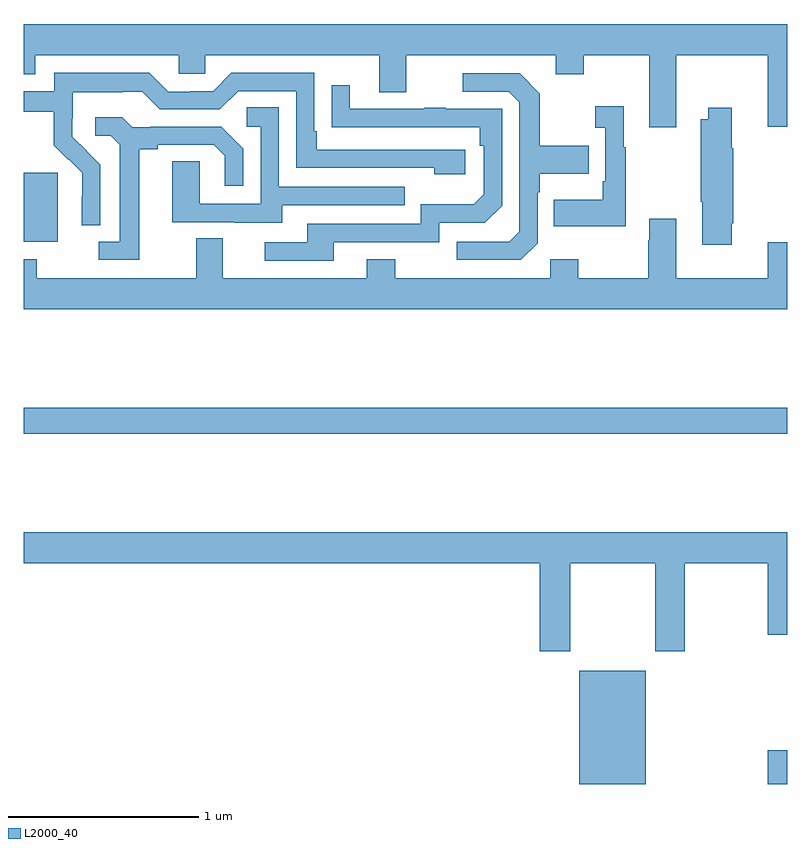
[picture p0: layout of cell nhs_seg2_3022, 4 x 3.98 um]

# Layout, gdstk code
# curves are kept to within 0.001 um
import gdstk
lib = gdstk.Library(unit=1e-6, precision=1e-09)
def R(c, l, rs):  # rectangles x0, y0, x1, y1
    for r in rs: c.add(gdstk.rectangle(r[:2], r[2:], *l))
def P(c, l, *ps):  # polygons
    for p in ps: c.add(gdstk.Polygon(p, *l))
L2000_40 = (2000, 40)

nhs_seg2_3022 = lib.new_cell('nhs_seg2_3022')
R(nhs_seg2_3022, L2000_40, [(271.91,659.8,272.26,660.394), (272.9,659.8,273,659.977), (269,661.636,273,661.772), (269,662.642,269.176,663.003)])
P(nhs_seg2_3022, L2000_40, [(272.419,663.62),(272.9,663.62),(272.9,663.246),(273,663.246),(273,663.784),(269,663.784),(269,663.521),(269.059,663.521),(269.059,663.62),(269.811,663.62),(269.811,663.522),(269.949,663.522),(269.949,663.62),(270.863,663.62),(270.863,663.426),(271.003,663.426),(271.003,663.62),(271.787,663.62),(271.787,663.521),(271.935,663.521),(271.935,663.62),(272.279,663.62),(272.279,663.243),(272.419,663.243)],
  [(269.4,663.046),(269.254,663.194),(269.254,663.291),(269.256,663.291),(269.256,663.425),(269.519,663.425),(269.519,663.429),(269.619,663.429),(269.712,663.336),(270.027,663.336),(270.123,663.432),(270.426,663.432),(270.426,663.03),(271.151,663.03),(271.151,662.996),(271.312,662.996),(271.312,663.126),(270.535,663.126),(270.535,663.223),(270.522,663.223),(270.522,663.528),(270.087,663.528),(269.991,663.432),(269.873,663.432),(269.873,663.429),(269.757,663.429),(269.657,663.529),(269.16,663.529),(269.16,663.432),(269,663.432),(269,663.324),(269.155,663.324),(269.155,663.149),(269.232,663.072),(269.235,663.075),(269.306,663.005),(269.306,662.882),(269.304,662.882),(269.304,662.728),(269.4,662.728)],
  [(271.692,662.634),(271.692,662.903),(271.705,662.903),(271.705,662.999),(271.961,662.999),(271.961,663.147),(271.705,663.147),(271.705,663.419),(271.599,663.525),(271.299,663.525),(271.299,663.429),(271.542,663.429),(271.596,663.375),(271.596,662.694),(271.545,662.643),(271.269,662.643),(271.269,662.547),(271.605,662.547)],
  [(270.625,662.64),(271.176,662.64),(271.176,662.742),(271.416,662.742),(271.506,662.832),(271.506,663.339),(271.211,663.339),(271.211,663.344),(271.099,663.344),(271.099,663.339),(270.709,663.339),(270.709,663.463),(270.613,663.463),(270.613,663.244),(271.39,663.243),(271.39,663.146),(271.41,663.146),(271.41,662.892),(271.357,662.839),(271.08,662.839),(271.08,662.736),(270.485,662.736),(270.485,662.64),(270.261,662.64),(270.261,662.544),(270.625,662.544)],
  [(272.155,663.139),(272.143,663.139),(272.143,663.352),(271.995,663.352),(271.995,663.239),(272.046,663.239),(272.046,662.959),(272.034,662.959),(272.034,662.863),(271.777,662.863),(271.777,662.723),(272.155,662.723)],
  [(270.355,662.835),(270.995,662.835),(270.995,662.931),(270.336,662.931),(270.336,663.347),(270.168,663.347),(270.168,663.246),(270.24,663.246),(270.24,662.841),(269.922,662.841),(269.922,663.065),(269.777,663.065),(269.777,662.745),(270.101,662.745),(270.101,662.741),(270.355,662.741)],
  [(272.71,662.74),(272.718,662.74),(272.718,663.133),(272.71,663.133),(272.71,663.346),(272.588,663.346),(272.588,663.286),(272.548,663.286),(272.548,662.851),(272.555,662.851),(272.555,662.628),(272.71,662.628)],
  [(269.605,663.128),(269.701,663.128),(269.701,663.15),(269.996,663.15),(270.053,663.093),(270.053,662.937),(270.15,662.937),(270.15,663.13),(270.034,663.246),(269.662,663.246),(269.662,663.243),(269.568,663.243),(269.516,663.295),(269.373,663.295),(269.373,663.198),(269.454,663.198),(269.501,663.151),(269.501,662.643),(269.391,662.643),(269.391,662.547),(269.605,662.547)],
  [(273,662.641),(272.9,662.641),(272.9,662.452),(272.419,662.452),(272.419,662.764),(272.279,662.764),(272.279,662.651),(272.272,662.651),(272.272,662.452),(271.905,662.452),(271.905,662.551),(271.758,662.551),(271.758,662.452),(270.945,662.452),(270.945,662.551),(270.797,662.551),(270.797,662.452),(270.043,662.452),(270.043,662.66),(269.903,662.66),(269.903,662.452),(269.067,662.452),(269.067,662.551),(269,662.551),(269,662.288),(273,662.288)],
  [(271.863,660.956),(272.308,660.956),(272.308,660.495),(272.463,660.495),(272.463,660.956),(272.9,660.956),(272.9,660.582),(273,660.582),(273,661.12),(269,661.12),(269,660.956),(271.703,660.956),(271.703,660.495),(271.863,660.495)])

lib.write_gds('nhs_seg2_3022.gds')
